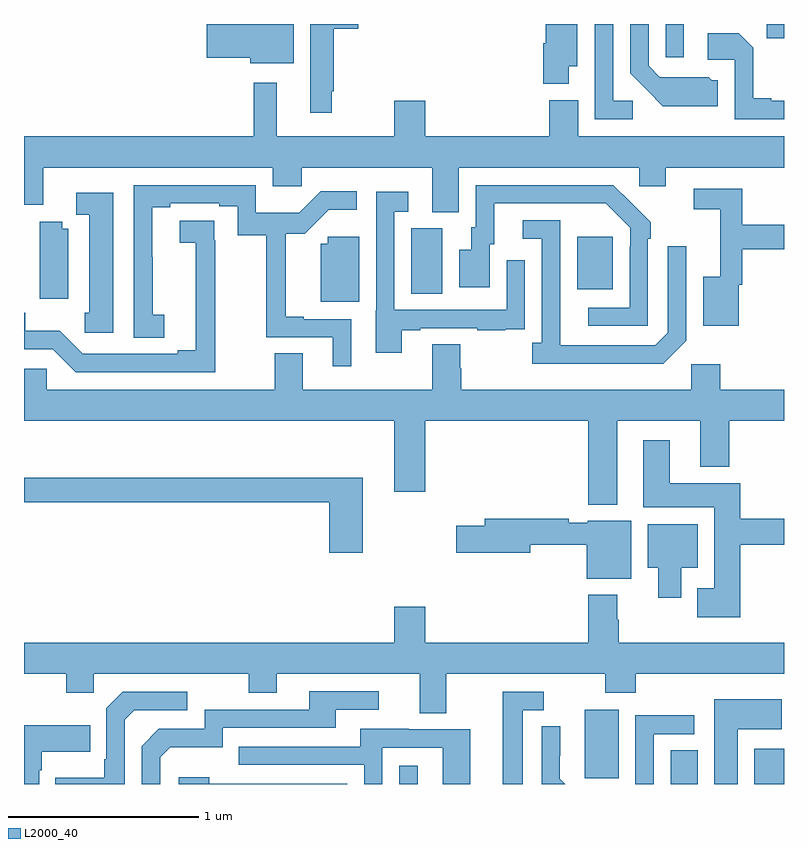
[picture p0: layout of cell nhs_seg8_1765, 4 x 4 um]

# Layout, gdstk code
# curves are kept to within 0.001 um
import gdstk
lib = gdstk.Library(unit=1e-6, precision=1e-09)
def R(c, l, rs):  # rectangles x0, y0, x1, y1
    for r in rs: c.add(gdstk.rectangle(r[:2], r[2:], *l))
def P(c, l, *ps):  # polygons
    for p in ps: c.add(gdstk.Polygon(p, *l))
L2000_40 = (2000, 40)

nhs_seg8_1765 = lib.new_cell('nhs_seg8_1765')
R(nhs_seg8_1765, L2000_40, [(224.976,1135.9,225.073,1135.996), (226.403,1135.9,226.546,1136.078), (226.844,1135.9,227,1136.086), (225.95,1135.929,226.129,1136.29), (225.038,1138.48,225.202,1138.824), (225.911,1138.505,226.099,1138.78), (226.377,1139.724,226.473,1139.9), (226.909,1139.824,227,1139.9)])
P(nhs_seg8_1765, L2000_40, [(225.868,1139.678),(225.913,1139.678),(225.913,1139.9),(225.746,1139.9),(225.746,1139.799),(225.734,1139.799),(225.734,1139.585),(225.868,1139.585)],
  [(224.419,1139.9),(223.962,1139.9),(223.962,1139.722),(224.192,1139.722),(224.192,1139.693),(224.419,1139.693)],
  [(226.204,1139.496),(226.101,1139.496),(226.101,1139.9),(226.005,1139.9),(226.005,1139.4),(226.204,1139.4)],
  [(226.651,1139.604),(226.62,1139.604),(226.604,1139.62),(226.347,1139.619),(226.287,1139.679),(226.287,1139.9),(226.191,1139.9),(226.191,1139.642),(226.363,1139.468),(226.651,1139.468)],
  [(224.621,1139.545),(224.629,1139.545),(224.629,1139.876),(224.758,1139.876),(224.758,1139.9),(224.507,1139.9),(224.507,1139.433),(224.621,1139.433)],
  [(227,1139.496),(226.933,1139.496),(226.933,1139.509),(226.839,1139.509),(226.839,1139.776),(226.763,1139.852),(226.599,1139.852),(226.599,1139.712),(226.74,1139.712),(226.74,1139.4),(227,1139.4)],
  [(225.289,1139.144),(226.239,1139.144),(226.239,1139.046),(226.378,1139.046),(226.378,1139.144),(227,1139.144),(227,1139.308),(225.916,1139.308),(225.916,1139.5),(225.764,1139.5),(225.764,1139.308),(225.112,1139.308),(225.112,1139.497),(224.948,1139.497),(224.948,1139.308),(224.329,1139.308),(224.329,1139.59),(224.208,1139.59),(224.208,1139.308),(223,1139.308),(223,1138.95),(223.102,1138.95),(223.102,1139.144),(224.309,1139.144),(224.309,1139.046),(224.461,1139.046),(224.461,1139.144),(225.149,1139.144),(225.149,1138.909),(225.289,1138.909)],
  [(226.284,1138.769),(226.299,1138.769),(226.299,1138.857),(226.102,1139.052),(225.378,1139.052),(225.378,1138.83),(225.353,1138.83),(225.353,1138.711),(225.29,1138.711),(225.29,1138.515),(225.451,1138.515),(225.451,1138.74),(225.475,1138.74),(225.475,1138.956),(226.063,1138.956),(226.191,1138.827),(226.191,1138.727),(226.188,1138.727),(226.188,1138.407),(225.969,1138.407),(225.969,1138.311),(226.284,1138.311)],
  [(224.722,1138.347),(224.473,1138.347),(224.473,1138.36),(224.378,1138.36),(224.378,1138.797),(224.477,1138.797),(224.603,1138.922),(224.752,1138.922),(224.752,1139.019),(224.562,1139.019),(224.449,1138.906),(224.22,1138.906),(224.22,1139.052),(223.578,1139.052),(223.578,1138.249),(223.738,1138.249),(223.738,1138.369),(223.677,1138.369),(223.677,1138.673),(223.675,1138.673),(223.675,1138.936),(223.771,1138.936),(223.771,1138.956),(224.027,1138.956),(224.027,1138.942),(224.124,1138.942),(224.124,1138.789),(224.275,1138.789),(224.275,1138.251),(224.624,1138.251),(224.624,1138.098),(224.722,1138.098)],
  [(226.762,1138.527),(226.781,1138.527),(226.781,1138.714),(227,1138.714),(227,1138.843),(226.781,1138.843),(226.781,1139.034),(226.524,1139.034),(226.524,1138.926),(226.664,1138.926),(226.664,1138.57),(226.574,1138.57),(226.574,1138.313),(226.762,1138.313)],
  [(224.989,1138.287),(225.085,1138.287),(225.085,1138.299),(225.385,1138.299),(225.385,1138.287),(225.533,1138.287),(225.533,1138.293),(225.635,1138.293),(225.635,1138.402),(225.636,1138.402),(225.636,1138.657),(225.54,1138.657),(225.54,1138.395),(224.949,1138.395),(224.949,1138.911),(225.022,1138.911),(225.022,1139.017),(224.853,1139.017),(224.853,1138.392),(224.852,1138.392),(224.852,1138.17),(224.989,1138.17)],
  [(223.471,1139.011),(223.275,1139.011),(223.275,1138.896),(223.343,1138.896),(223.343,1138.38),(223.321,1138.38),(223.321,1138.275),(223.471,1138.275)],
  [(226.485,1138.233),(226.485,1138.729),(226.389,1138.729),(226.389,1138.275),(226.323,1138.209),(225.823,1138.209),(225.822,1138.866),(225.624,1138.866),(225.624,1138.77),(225.726,1138.77),(225.726,1138.222),(225.675,1138.222),(225.675,1138.112),(226.364,1138.112)],
  [(224.006,1138.763),(224,1138.763),(224,1138.865),(223.821,1138.865),(223.821,1138.75),(223.903,1138.75),(223.904,1138.184),(223.808,1138.184),(223.808,1138.164),(223.308,1138.164),(223.187,1138.285),(223.006,1138.285),(223.006,1138.381),(223,1138.381),(223,1138.188),(223.152,1138.188),(223.272,1138.068),(224.006,1138.068)],
  [(223.234,1138.822),(223.202,1138.822),(223.202,1138.859),(223.082,1138.859),(223.082,1138.455),(223.234,1138.455)],
  [(224.764,1138.78),(224.598,1138.78),(224.598,1138.744),(224.561,1138.744),(224.561,1138.439),(224.764,1138.439)],
  [(226.664,1138.108),(226.512,1138.108),(226.512,1137.976),(225.302,1137.976),(225.302,1138.089),(225.297,1138.089),(225.297,1138.214),(225.149,1138.214),(225.149,1137.976),(224.467,1137.976),(224.467,1138.166),(224.32,1138.166),(224.32,1137.976),(223.119,1137.976),(223.119,1138.086),(223,1138.086),(223,1137.812),(224.948,1137.812),(224.948,1137.438),(225.112,1137.438),(225.112,1137.812),(225.971,1137.812),(225.971,1137.371),(226.123,1137.371),(226.123,1137.812),(226.559,1137.812),(226.559,1137.569),(226.712,1137.569),(226.712,1137.812),(227,1137.812),(227,1137.976),(226.664,1137.976)],
  [(226.769,1137.16),(227,1137.16),(227,1137.296),(226.769,1137.296),(226.769,1137.484),(226.399,1137.484),(226.399,1137.709),(226.259,1137.709),(226.259,1137.356),(226.634,1137.356),(226.634,1136.929),(226.544,1136.929),(226.544,1136.777),(226.769,1136.777)],
  [(224.784,1137.511),(223,1137.511),(223,1137.382),(224.606,1137.382),(224.606,1137.117),(224.784,1137.117)],
  [(226.195,1137.286),(225.966,1137.286),(225.966,1137.276),(225.866,1137.276),(225.866,1137.296),(225.425,1137.296),(225.425,1137.26),(225.276,1137.26),(225.276,1137.118),(225.664,1137.118),(225.664,1137.16),(225.962,1137.16),(225.962,1136.981),(226.195,1136.981)],
  [(226.459,1137.038),(226.546,1137.038),(226.546,1137.268),(226.283,1137.268),(226.283,1137.038),(226.337,1137.038),(226.337,1136.88),(226.459,1136.88)],
  [(225.223,1136.48),(226.06,1136.48),(226.06,1136.381),(226.22,1136.381),(226.22,1136.48),(227,1136.48),(227,1136.644),(226.131,1136.644),(226.131,1136.765),(226.123,1136.765),(226.123,1136.896),(225.971,1136.896),(225.971,1136.644),(225.112,1136.644),(225.112,1136.833),(224.948,1136.833),(224.948,1136.644),(223,1136.644),(223,1136.48),(223.222,1136.48),(223.222,1136.381),(223.368,1136.381),(223.368,1136.48),(224.182,1136.48),(224.182,1136.381),(224.329,1136.381),(224.329,1136.48),(225.083,1136.48),(225.083,1136.272),(225.223,1136.272)],
  [(223.716,1136.04),(223.769,1136.093),(224.046,1136.093),(224.046,1136.196),(224.641,1136.196),(224.641,1136.292),(224.866,1136.292),(224.866,1136.388),(224.501,1136.388),(224.501,1136.292),(223.95,1136.292),(223.95,1136.19),(223.71,1136.19),(223.62,1136.1),(223.62,1135.9),(223.716,1135.9)],
  [(223.53,1136.238),(223.581,1136.289),(223.858,1136.289),(223.858,1136.385),(223.521,1136.385),(223.434,1136.298),(223.434,1136.029),(223.422,1136.029),(223.422,1135.933),(223.165,1135.933),(223.165,1135.9),(223.53,1135.9)],
  [(225.625,1136.289),(225.736,1136.289),(225.736,1136.385),(225.521,1136.385),(225.521,1135.9),(225.625,1135.9)],
  [(226.756,1136.189),(226.987,1136.189),(226.987,1136.347),(226.634,1136.347),(226.634,1135.9),(226.756,1135.9)],
  [(226.314,1136.163),(226.528,1136.163),(226.528,1136.262),(226.218,1136.262),(226.218,1135.9),(226.314,1135.9)],
  [(223.08,1135.973),(223.093,1135.973),(223.093,1136.069),(223.349,1136.069),(223.349,1136.209),(223,1136.209),(223,1135.9),(223.08,1135.9)],
  [(225.821,1135.928),(225.821,1136.05),(225.822,1136.05),(225.822,1136.204),(225.726,1136.204),(225.726,1135.9),(225.849,1135.9)],
  [(224.886,1136.091),(225.204,1136.091),(225.204,1135.9),(225.349,1135.9),(225.349,1136.187),(225.025,1136.187),(225.025,1136.191),(224.771,1136.191),(224.771,1136.097),(224.131,1136.097),(224.131,1136.001),(224.79,1136.001),(224.79,1135.9),(224.886,1135.9)],
  [(224.7,1135.902),(223.976,1135.902),(223.976,1135.936),(223.815,1135.936),(223.815,1135.9),(224.7,1135.9)])

lib.write_gds('nhs_seg8_1765.gds')
